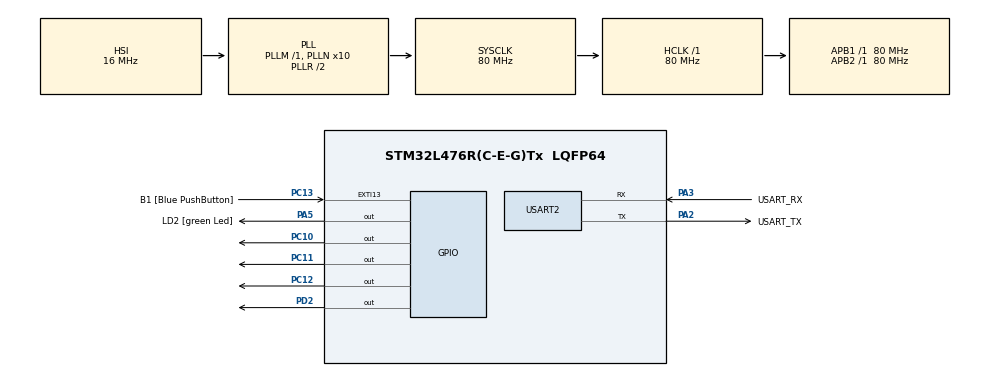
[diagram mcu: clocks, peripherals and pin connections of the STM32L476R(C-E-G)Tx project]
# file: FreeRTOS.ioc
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FREERTOS.BinarySemaphores01=bSemephore,Dynamic,NULL
FREERTOS.Mutexes01=myMutex,Dynamic,NULL
FREERTOS.Tasks01=defaultTask,24,128,StartDefaultTask,Default,NULL,Dynamic,NULL,NULL;Blink1Task,24,128,Blink1,Default,NULL,Dynamic,NULL,NULL;TriggTask,40,128,Trigg,Default,NULL,Dynamic,NULL,NULL;UserbuttonTask,40,128,Userbutton,Default,NULL,Dynamic,NULL,NULL
Mcu.Family=STM32L4
Mcu.Name=STM32L476R(C-E-G)Tx
Mcu.Package=LQFP64
NVIC.PriorityGroup=NVIC_PRIORITYGROUP_4
NVIC.TIM1_UP_TIM16_IRQn=true\:0\:0\:false\:false\:true\:false\:false\:true
NVIC.TimeBase=TIM1_UP_TIM16_IRQn
NVIC.TimeBaseIP=TIM1
PA13\ (JTMS-SWDIO).GPIO_Label=TMS
PA13\ (JTMS-SWDIO).Mode=Serial_Wire
PA13\ (JTMS-SWDIO).Signal=SYS_JTMS-SWDIO
PA14\ (JTCK-SWCLK).GPIO_Label=TCK
PA14\ (JTCK-SWCLK).Mode=Serial_Wire
PA14\ (JTCK-SWCLK).Signal=SYS_JTCK-SWCLK
PA2.GPIO_Label=USART_TX
PA2.GPIO_Mode=GPIO_MODE_AF_PP
PA2.GPIO_PuPd=GPIO_NOPULL
PA2.GPIO_Speed=GPIO_SPEED_FREQ_VERY_HIGH
PA2.Mode=Asynchronous
PA2.Signal=USART2_TX
PA3.GPIO_Label=USART_RX
PA3.GPIO_Mode=GPIO_MODE_AF_PP
PA3.GPIO_PuPd=GPIO_NOPULL
PA3.GPIO_Speed=GPIO_SPEED_FREQ_VERY_HIGH
PA3.Mode=Asynchronous
PA3.Signal=USART2_RX
PA5.GPIO_Label=LD2 [green Led]
PA5.GPIO_ModeDefaultOutputPP=GPIO_MODE_OUTPUT_PP
PA5.GPIO_PuPd=GPIO_NOPULL
PA5.GPIO_Speed=GPIO_SPEED_FREQ_LOW
PA5.Signal=GPIO_Output
PB3\ (JTDO-TRACESWO).GPIO_Label=SWO
PB3\ (JTDO-TRACESWO).Signal=SYS_JTDO-SWO
PC10.Signal=GPIO_Output
PC11.Signal=GPIO_Output
PC12.Signal=GPIO_Output
PC13.GPIO_Label=B1 [Blue PushButton]
PC13.GPIO_ModeDefaultEXTI=GPIO_MODE_IT_FALLING
PC13.GPIO_PuPd=GPIO_NOPULL
PC13.Signal=GPXTI13
PC14-OSC32_IN\ (PC14).Mode=LSE-External-Oscillator
PC14-OSC32_IN\ (PC14).Signal=RCC_OSC32_IN
PC15-OSC32_OUT\ (PC15).Mode=LSE-External-Oscillator
PC15-OSC32_OUT\ (PC15).Signal=RCC_OSC32_OUT
PD2.Signal=GPIO_Output
PH0-OSC_IN\ (PH0).Signal=RCC_OSC_IN
PH1-OSC_OUT\ (PH1).Signal=RCC_OSC_OUT
ProjectManager.HeapSize=0x200
ProjectManager.StackSize=0x400
ProjectManager.TargetToolchain=STM32CubeIDE
RCC.ADCFreq_Value=64000000
RCC.AHBFreq_Value=80000000
RCC.APB1Freq_Value=80000000
RCC.APB1TimFreq_Value=80000000
RCC.APB2Freq_Value=80000000
RCC.APB2TimFreq_Value=80000000
RCC.CortexFreq_Value=80000000
RCC.HCLKFreq_Value=80000000
RCC.HSE_VALUE=8000000
RCC.HSI_VALUE=16000000
RCC.MSI_VALUE=4000000
RCC.PLLN=10
RCC.PLLSourceVirtual=RCC_PLLSOURCE_HSI
RCC.PREFETCH_ENABLE=1
RCC.SYSCLKFreq_VALUE=80000000
RCC.SYSCLKSource=RCC_SYSCLKSOURCE_PLLCLK
RCC.USBFreq_Value=64000000
RCC.VCOOutputFreq_Value=160000000
USART2.VirtualMode-Asynchronous=VM_ASYNC
VP_FREERTOS_VS_CMSIS_V2.Mode=CMSIS_V2
VP_SYS_VS_tim1.Mode=TIM1
board=NUCLEO-L476RG

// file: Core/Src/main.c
/* USER CODE BEGIN Header */
/**
  ******************************************************************************
  * @file           : main.c
  * @brief          : Main program body
  ******************************************************************************
  * @attention
  *
  * <h2><center>&copy; Copyright (c) 2019 STMicroelectronics.
  * All rights reserved.</center></h2>
  *
  * This software component is licensed by ST under BSD 3-Clause license,
  * the "License"; You may not use this file except in compliance with the
  * License. You may obtain a copy of the License at:
  *                        opensource.org/licenses/BSD-3-Clause
  *
  ******************************************************************************
  */
/* USER CODE END Header */

#include "main.h"
#include "cmsis_os.h"
#include "usart.h"
#include "gpio.h"

void SystemClock_Config(void);
void MX_FREERTOS_Init(void);

int main(void)
{

  /* MCU Configuration--------------------------------------------------------*/

  /* Reset of all peripherals, Initializes the Flash interface and the Systick. */
  HAL_Init();

  /* Configure the system clock */
  SystemClock_Config();

  /* Initialize all configured peripherals */
  MX_GPIO_Init();
  MX_USART2_UART_Init();

  /* Call init function for freertos objects (in freertos.c) */
  MX_FREERTOS_Init();

  /* Start scheduler */
  osKernelStart();

  /* We should never get here as control is now taken by the scheduler */

  /* Infinite loop */
  while (1)
  {

  }
}

void SystemClock_Config(void)
{
  RCC_OscInitTypeDef RCC_OscInitStruct = {0};
  RCC_ClkInitTypeDef RCC_ClkInitStruct = {0};
  RCC_PeriphCLKInitTypeDef PeriphClkInit = {0};

  /** Initializes the CPU, AHB and APB busses clocks
  */
  RCC_OscInitStruct.OscillatorType = RCC_OSCILLATORTYPE_HSI;
  RCC_OscInitStruct.HSIState = RCC_HSI_ON;
  RCC_OscInitStruct.HSICalibrationValue = RCC_HSICALIBRATION_DEFAULT;
  RCC_OscInitStruct.PLL.PLLState = RCC_PLL_ON;
  RCC_OscInitStruct.PLL.PLLSource = RCC_PLLSOURCE_HSI;
  RCC_OscInitStruct.PLL.PLLM = 1;
  RCC_OscInitStruct.PLL.PLLN = 10;
  RCC_OscInitStruct.PLL.PLLP = RCC_PLLP_DIV7;
  RCC_OscInitStruct.PLL.PLLQ = RCC_PLLQ_DIV2;
  RCC_OscInitStruct.PLL.PLLR = RCC_PLLR_DIV2;
  if (HAL_RCC_OscConfig(&RCC_OscInitStruct) != HAL_OK)
  {
    Error_Handler();
  }
  /** Initializes the CPU, AHB and APB busses clocks
  */
  RCC_ClkInitStruct.ClockType = RCC_CLOCKTYPE_HCLK|RCC_CLOCKTYPE_SYSCLK
                              |RCC_CLOCKTYPE_PCLK1|RCC_CLOCKTYPE_PCLK2;
  RCC_ClkInitStruct.SYSCLKSource = RCC_SYSCLKSOURCE_PLLCLK;
  RCC_ClkInitStruct.AHBCLKDivider = RCC_SYSCLK_DIV1;
  RCC_ClkInitStruct.APB1CLKDivider = RCC_HCLK_DIV1;
  RCC_ClkInitStruct.APB2CLKDivider = RCC_HCLK_DIV1;

  if (HAL_RCC_ClockConfig(&RCC_ClkInitStruct, FLASH_LATENCY_4) != HAL_OK)
  {
    Error_Handler();
  }
  PeriphClkInit.PeriphClockSelection = RCC_PERIPHCLK_USART2;
  PeriphClkInit.Usart2ClockSelection = RCC_USART2CLKSOURCE_PCLK1;
  if (HAL_RCCEx_PeriphCLKConfig(&PeriphClkInit) != HAL_OK)
  {
    Error_Handler();
  }
  /** Configure the main internal regulator output voltage
  */
  if (HAL_PWREx_ControlVoltageScaling(PWR_REGULATOR_VOLTAGE_SCALE1) != HAL_OK)
  {
    Error_Handler();
  }
}

void HAL_TIM_PeriodElapsedCallback(TIM_HandleTypeDef *htim)
{
  if (htim->Instance == TIM1) {
    HAL_IncTick();
  }
}

void Error_Handler(void)
{
}

/************************ (C) COPYRIGHT STMicroelectronics *****END OF FILE****/

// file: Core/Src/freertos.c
/* USER CODE BEGIN Header */
/**
 ****************************************************************************
 * File Name          : freertos.c
 * Description        : Code for freertos applications
 ****************************************************************************
 * @attention
 *
 * <h2><center>&copy; Copyright (c) 2019 STMicroelectronics.
 * All rights reserved.</center></h2>
 *
 * This software component is licensed by ST under Ultimate Liberty license
 * SLA0044, the "License"; You may not use this file except in compliance with
 * the License. You may obtain a copy of the License at:
 *                             www.st.com/SLA0044
 *
 ****************************************************************************
 */
/* USER CODE END Header */

#include "FreeRTOS.h"
#include "task.h"
#include "main.h"
#include "cmsis_os.h"

/* USER CODE BEGIN Includes */
#include "semphr.h"
/* USER CODE END Includes */

osThreadId_t defaultTaskHandle;
osThreadId_t Blink1TaskHandle;
osThreadId_t TriggTaskHandle;
osThreadId_t UserbuttonTaskHandle;
osMutexId_t myMutexHandle;

void StartDefaultTask(void *argument);
void Blink1(void *argument);
void Trigg(void *argument);
void Userbutton(void *argument);

void MX_FREERTOS_Init(void); /* (MISRA C 2004 rule 8.1) */

void MX_FREERTOS_Init(void) {
	osKernelInitialize();

	/* Create the mutex(es) */
	/* definition and creation of myMutex */
	const osMutexAttr_t myMutex_attributes = { .name = "myMutex" };
	myMutexHandle = osMutexNew(&myMutex_attributes);

	/* Create the thread(s) */
	/* definition and creation of defaultTask */
	const osThreadAttr_t defaultTask_attributes = { .name = "defaultTask",
			.priority = (osPriority_t) osPriorityLow, .stack_size = 128 };
	defaultTaskHandle = osThreadNew(StartDefaultTask, NULL,
			&defaultTask_attributes);

	/* definition and creation of Blink1Task */
	const osThreadAttr_t Blink1Task_attributes = { .name = "Blink1Task",
			.priority = (osPriority_t) osPriorityNormal, .stack_size = 128 };
	Blink1TaskHandle = osThreadNew(Blink1, NULL, &Blink1Task_attributes);

	/* definition and creation of TriggTask */
	const osThreadAttr_t TriggTask_attributes = { .name = "TriggTask",
			.priority = (osPriority_t) osPriorityHigh, .stack_size = 128 };
	TriggTaskHandle = osThreadNew(Trigg, NULL, &TriggTask_attributes);

	/* definition and creation of UserbuttonTask */
	const osThreadAttr_t UserbuttonTask_attributes = { .name = "UserbuttonTask",
			.priority = (osPriority_t) osPriorityHigh, .stack_size = 128 };
	UserbuttonTaskHandle = osThreadNew(Userbutton, NULL,
			&UserbuttonTask_attributes);

}

void StartDefaultTask(void *argument) {
	for (;;) {
		osDelay(1);
	}
}

void Blink1(void *argument) {
	/* USER CODE BEGIN Blink1 */
	//uint16_t varv = 0, antalvarv = 1;
	TickType_t xLastWakeTime;
	xLastWakeTime = xTaskGetTickCount();
	//const TickType_t xPeriod = pdMS_TO_TICKS(100); // ms to ticks
	// Initialise the xLastWakeTime variable with the current time.
	//xLastWakeTime = xTaskGetTickCount();
	/* Infinite loop */
	for (;;) {

		if ((xSemaphoreTake(myMutexHandle,20) == pdTRUE)) {
			HAL_GPIO_TogglePin(LD2_GPIO_Port, LD2_Pin); // Blink PC10
			xSemaphoreGive(myMutexHandle);
			vTaskDelayUntil(&xLastWakeTime,100);
		}
	}

	/* USER CODE END Blink1 */
}

void Trigg(void *argument) {
	/* USER CODE BEGIN Trigg */
	TickType_t xLastWakeTime;
	const TickType_t xPeriod = pdMS_TO_TICKS(10); // ms to ticks
// Initialise the xLastWakeTime variable with the current time.
	xLastWakeTime = xTaskGetTickCount();
	/* Infinite loop */
	for (;;) {
		//HAL_GPIO_TogglePin(GPIOD, GPIO_PIN_2); // Blink PD2
		vTaskDelayUntil(&xLastWakeTime, xPeriod);
	}
	/* USER CODE END Trigg */
}

void Userbutton(void *argument) {
	/* USER CODE BEGIN Userbutton */
	TickType_t xLastWakeTime;
	const TickType_t xPeriod = pdMS_TO_TICKS(20);
	// Initialise the xLastWakeTime variable with the current time.
	xLastWakeTime = xTaskGetTickCount();
	/* Infinite loop */
	for (;;) {
		if (HAL_GPIO_ReadPin(B1_GPIO_Port, B1_Pin) == GPIO_PIN_RESET) {
			if (xSemaphoreTake(myMutexHandle,0) == pdTRUE) {
			}
		}else
			xSemaphoreGive(myMutexHandle);
			vTaskDelayUntil(&xLastWakeTime, xPeriod);
	}
	/* USER CODE END Userbutton */
}

/************************ (C) COPYRIGHT STMicroelectronics *****END OF FILE****/
